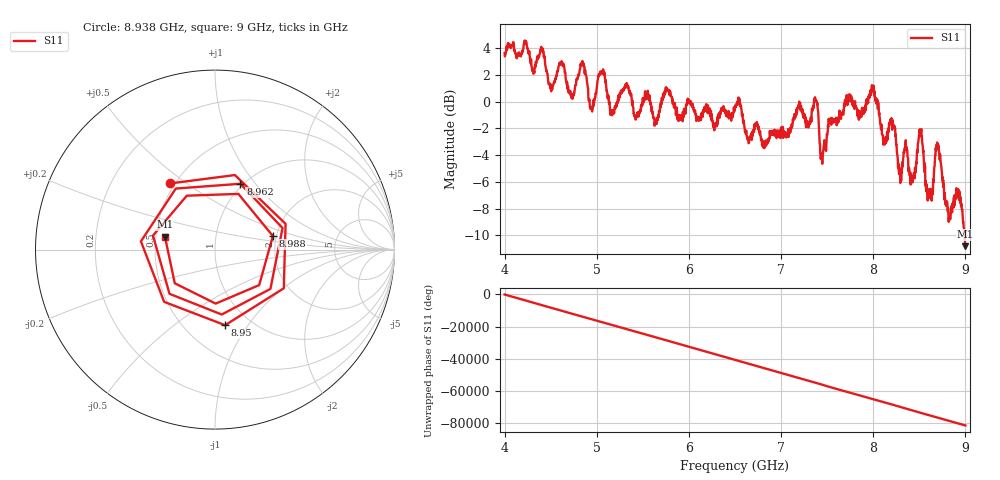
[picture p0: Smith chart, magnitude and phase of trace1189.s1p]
! Created with skrf 1.8.0 (http://scikit-rf.org).
# Hz S RI R 50.0
!freq ReS11 ImS11
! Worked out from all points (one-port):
!   1601 points, 4 GHz to 9 GHz, reference 50 ohm
!   lowest |S11| = -10.8 dB at 9 GHz (marker M1), VSWR 1.81, Z = 28 + j4.35 ohm
!   |S11| at or under -10 dB: 8.990905 GHz to end of sweep
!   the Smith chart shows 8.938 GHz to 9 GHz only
!   S11 on the Smith chart (normalised r, x): 8.938 GHz: 0.47, +0.43; 8.95 GHz: 0.77, -0.79; 8.962 GHz: 0.97, +0.84; 8.988 GHz: 1.92, +0.33; 9 GHz: 0.56, +0.09
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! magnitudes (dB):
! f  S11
! 4 GHz  3.7
! 4.625 GHz  2.8
! 4.731 GHz  0.5
! 4.85 GHz  2.9
! 4.941 GHz  -0.5
! 5.05 GHz  2.1
! 5.166 GHz  -1.0
! 5.25 GHz  0.6
! 5.875 GHz  -1.3
! 6.5 GHz  -0.4
! 6.819 GHz  -3.5
! 7.125 GHz  -1.7
! 7.378 GHz  0.1
! 7.45 GHz  -3.8
! 7.75 GHz  0.1
! 7.994 GHz  0.8
! 8.288 GHz  -5.3
! 8.375 GHz  -4.2
! 8.438 GHz  -5.5
! 8.512 GHz  -2.1
! 8.609 GHz  -7.0
! 8.7 GHz  -3.4
! 8.812 GHz  -8.0
! 8.938 GHz  -7.0
! 8.95 GHz  -7.4
! 8.962 GHz  -8.1
! 8.988 GHz  -9.6
! 9 GHz  -10.8
